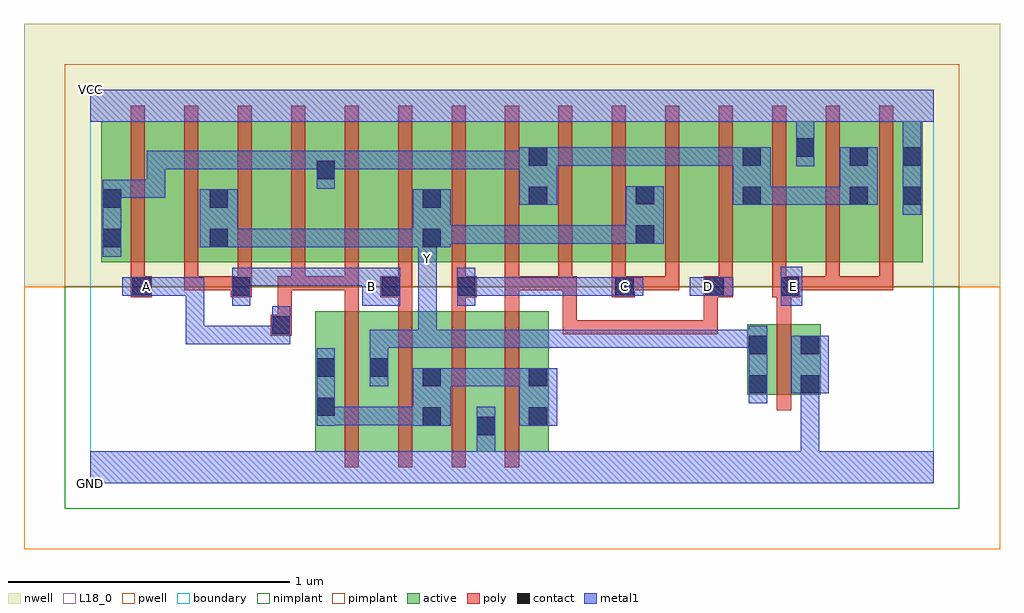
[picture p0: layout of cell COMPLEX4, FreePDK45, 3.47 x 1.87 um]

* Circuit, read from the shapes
.subckt COMPLEX4 A B C D E GND VCC Y
M1 Y A n1 VSUBS nfet w=0.5u l=0.05u
M2 n1 B Y VSUBS nfet w=0.5u l=0.05u
M3 GND C n1 VSUBS nfet w=0.5u l=0.05u
M4 n1 D GND VSUBS nfet w=0.5u l=0.05u
M5 GND E Y VSUBS nfet w=0.25u l=0.05u
M6 n2 A n3 n4 pfet w=0.5u l=0.05u
M7 Y B n2 n4 pfet w=0.5u l=0.05u
M8 n5 B Y n4 pfet w=0.5u l=0.05u
M9 n3 A n5 n4 pfet w=0.5u l=0.05u
M10 n6 A n3 n4 pfet w=0.5u l=0.05u
M11 Y B n6 n4 pfet w=0.5u l=0.05u
M12 n7 C Y n4 pfet w=0.5u l=0.05u
M13 n3 D n7 n4 pfet w=0.5u l=0.05u
M14 n8 D n3 n4 pfet w=0.5u l=0.05u
M15 Y C n8 n4 pfet w=0.5u l=0.05u
M16 n9 C Y n4 pfet w=0.5u l=0.05u
M17 n3 D n9 n4 pfet w=0.5u l=0.05u
M18 VCC E n3 n4 pfet w=0.5u l=0.05u m=3
.ends

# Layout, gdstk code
import gdstk
lib = gdstk.Library(unit=1e-6, precision=1e-09)
def R(c, l, rs):  # rectangles x0, y0, x1, y1
    for r in rs: c.add(gdstk.rectangle(r[:2], r[2:], *l))
def A(c, l, x, y, w, h, nx, ny, dx, dy):  # array of equal rectangles
    R(c, l, [(x+i*dx, y+j*dy, x+i*dx+w, y+j*dy+h) for i in range(nx) for j in range(ny)])
active = (1, 0)
pwell = (2, 0)
nwell = (3, 0)
nimplant = (4, 0)
pimplant = (5, 0)
poly = (9, 0)
contact = (10, 0)
metal1 = (11, 0)
L18_0 = (18, 0)
boundary = (235, 0)

complex4 = lib.new_cell('COMPLEX4')
A(complex4, active, 0.04, 0.787, 0.225, 0.5, 3, 1, 0.38, 0)
A(complex4, active, 1.405, 0.787, 0.225, 0.5, 3, 1, 0.38, 0)
A(complex4, active, 2.315, 0.787, 0.265, 0.5, 3, 1, 0.19, 0)
R(complex4, active, [(0.8,0.112,1.065,0.612), (0.99,0.112,1.252,0.612), (1.177,0.112,1.445,0.612), (1.37,0.112,1.63,0.612), (1.37,0.132,1.445,0.55), (0.8,0.145,0.875,0.612), (0.99,0.145,1.065,0.592), (1.177,0.145,1.252,0.592), (1.555,0.145,1.63,0.612), (2.337,0.315,2.412,0.565), (2.337,0.315,2.597,0.565), (2.522,0.315,2.597,0.565), (0.04,0.787,0.145,1.2), (0.265,0.787,0.495,1.287), (0.42,0.787,0.495,1.07), (0.645,0.787,0.875,1.287), (0.8,0.787,0.875,1.2), (1.025,0.787,1.252,1.287), (1.177,0.787,1.252,1.07), (1.177,0.787,1.405,1.287), (1.555,0.787,1.63,1.2), (1.555,0.787,1.785,1.287), (1.935,0.787,2.165,1.287), (1.935,0.787,2.01,1.07), (2.315,0.787,2.39,1.2), (2.505,0.787,2.58,1.287), (2.695,0.787,2.77,1.2), (2.885,0.787,2.96,1.287)])
R(complex4, pwell, [(-0.235,-0.235,3.235,0.7)])
R(complex4, nwell, [(-0.235,0.7,3.235,1.635)])
R(complex4, nimplant, [(-0.09,-0.09,3.09,0.7)])
R(complex4, pimplant, [(-0.09,0.7,3.09,1.49)])
A(complex4, poly, 0.905, 0.057, 0.05, 0.61, 4, 1, 0.19, 0)
A(complex4, poly, 0.145, 0.687, 0.05, 0.095, 15, 1, 0.19, 0)
A(complex4, poly, 0.145, 0.732, 0.05, 0.61, 15, 1, 0.19, 0)
R(complex4, poly, [(2.442,0.26,2.492,0.62), (0.642,0.525,0.717,0.6), (1.68,0.53,1.73,0.58), (1.68,0.53,1.862,0.58), (1.68,0.53,1.73,0.737), (1.812,0.53,1.862,0.58), (1.812,0.53,1.862,0.58), (1.812,0.53,1.862,0.58), (1.812,0.53,2.1,0.58), (2.05,0.53,2.1,0.58), (2.05,0.53,2.1,0.58), (2.05,0.53,2.1,0.58), (2.05,0.53,2.232,0.58), (2.182,0.53,2.232,0.58), (2.182,0.53,2.232,0.58), (2.182,0.53,2.232,0.58), (2.182,0.53,2.232,0.58), (2.182,0.53,2.232,0.58), (2.182,0.53,2.232,0.712), (0.667,0.55,0.717,0.737), (2.442,0.57,2.492,0.712), (0.905,0.617,0.955,0.737), (1.095,0.617,1.145,0.712), (1.285,0.617,1.335,0.712), (1.475,0.617,1.525,0.737), (0.145,0.662,0.22,0.737), (0.5,0.662,0.575,0.737), (1.032,0.662,1.145,0.737), (1.285,0.662,1.375,0.737), (1.855,0.662,1.937,0.737), (2.182,0.662,2.285,0.737), (2.425,0.662,2.525,0.737), (0.335,0.687,0.385,0.737), (0.335,0.687,0.55,0.737), (0.5,0.687,0.55,0.737), (0.5,0.687,0.55,0.737), (0.667,0.687,0.75,0.737), (0.7,0.687,0.75,0.737), (0.7,0.687,0.765,0.737), (0.715,0.687,0.765,0.737), (0.715,0.687,0.765,0.737), (0.715,0.687,0.955,0.737), (0.905,0.687,0.955,0.737), (1.475,0.687,1.525,0.737), (1.475,0.687,1.525,0.737), (1.475,0.687,1.525,0.737), (1.475,0.687,1.715,0.737), (1.665,0.687,1.715,0.737), (1.665,0.687,1.715,0.737), (1.665,0.687,1.73,0.737), (1.887,0.687,2.095,0.737), (2.045,0.687,2.095,0.737), (2.045,0.687,2.095,0.737), (2.045,0.687,2.095,0.737), (2.475,0.687,2.665,0.737), (2.615,0.687,2.665,0.737), (2.615,0.687,2.665,0.737), (2.615,0.687,2.665,0.737), (2.615,0.687,2.855,0.737), (2.805,0.687,2.855,0.737), (2.805,0.687,2.855,0.737), (2.805,0.687,2.855,0.737)])
R(complex4, contact, [(1.375,0.172,1.44,0.237), (1.182,0.205,1.247,0.27), (1.56,0.205,1.625,0.27), (0.805,0.24,0.87,0.305), (2.342,0.32,2.407,0.385), (2.527,0.32,2.592,0.385), (1.182,0.345,1.247,0.41), (1.56,0.345,1.625,0.41), (0.805,0.38,0.87,0.445), (0.995,0.38,1.06,0.445), (2.342,0.46,2.407,0.525), (2.527,0.46,2.592,0.525), (0.647,0.53,0.712,0.595), (0.15,0.667,0.215,0.732), (0.505,0.667,0.57,0.732), (1.037,0.667,1.102,0.732), (1.305,0.667,1.37,0.732), (1.867,0.667,1.932,0.732), (2.187,0.667,2.252,0.732), (2.455,0.667,2.52,0.732), (0.045,0.84,0.11,0.905), (0.425,0.84,0.49,0.905), (1.182,0.84,1.247,0.905), (1.94,0.852,2.005,0.917), (0.045,0.98,0.11,1.045), (0.425,0.98,0.49,1.045), (1.182,0.98,1.247,1.045), (1.56,0.99,1.625,1.055), (2.32,0.99,2.385,1.055), (2.7,0.99,2.765,1.055), (2.89,0.99,2.955,1.055), (1.94,0.992,2.005,1.057), (0.805,1.082,0.87,1.147), (1.56,1.13,1.625,1.195), (2.32,1.13,2.385,1.195), (2.7,1.13,2.765,1.195), (2.89,1.13,2.955,1.195), (2.51,1.162,2.575,1.227)])
A(complex4, metal1, 1.355, 0.482, 0.065, 0.065, 1, 3, 0, 0.185)
A(complex4, metal1, 1.355, 0.482, 0.202, 0.065, 1, 3, 0, 0.185)
A(complex4, metal1, 1.492, 0.482, 0.065, 0.065, 1, 3, 0, 0.185)
A(complex4, metal1, 1.63, 0.482, 0.202, 0.065, 1, 3, 0, 0.185)
A(complex4, metal1, 1.767, 0.482, 0.065, 0.065, 1, 3, 0, 0.185)
A(complex4, metal1, 1.217, 0.852, 0.203, 0.065, 3, 1, 0.275, 0)
R(complex4, metal1, [(0,0,3,0.115), (1.375,0.05,1.44,0.115), (1.375,0.05,1.44,0.115), (1.375,0.05,1.44,0.202), (2.527,0.05,2.592,0.115), (2.527,0.05,2.592,0.115), (2.527,0.05,2.592,0.115), (2.527,0.05,2.592,0.115), (2.527,0.05,2.592,0.115), (2.527,0.05,2.592,0.115), (2.527,0.05,2.592,0.385), (1.375,0.137,1.44,0.272), (0.805,0.205,0.87,0.48), (1.147,0.205,1.282,0.41), (1.525,0.205,1.66,0.41), (0.805,0.207,0.87,0.272), (0.805,0.207,0.87,0.272), (0.805,0.207,1.075,0.272), (1.01,0.207,1.075,0.272), (1.01,0.207,1.075,0.272), (1.01,0.207,1.075,0.272), (1.01,0.207,1.212,0.272), (2.342,0.285,2.407,0.56), (2.492,0.32,2.627,0.525), (0.995,0.345,1.06,0.48), (1.217,0.345,1.42,0.41), (1.355,0.345,1.42,0.41), (1.355,0.345,1.42,0.41), (1.355,0.345,1.42,0.41), (1.355,0.345,1.557,0.41), (1.492,0.345,1.557,0.41), (1.492,0.345,1.59,0.41), (0.995,0.415,1.06,0.48), (0.995,0.415,1.06,0.547), (0.995,0.482,1.232,0.547), (1.167,0.482,1.232,0.547), (1.167,0.482,1.42,0.547), (1.167,0.482,1.232,0.797), (1.355,0.482,1.42,0.547), (1.355,0.482,1.42,0.547), (1.492,0.482,1.695,0.547), (1.63,0.482,1.695,0.547), (1.63,0.482,1.695,0.547), (1.63,0.482,1.695,0.547), (1.767,0.482,1.832,0.547), (1.767,0.482,1.832,0.547), (1.767,0.482,1.97,0.547), (1.905,0.482,1.97,0.547), (1.905,0.482,2.04,0.547), (1.975,0.482,2.04,0.547), (1.975,0.482,2.107,0.547), (2.042,0.482,2.107,0.547), (2.042,0.482,2.177,0.547), (2.112,0.482,2.177,0.547), (2.112,0.482,2.407,0.547), (0.34,0.495,0.405,0.56), (0.34,0.495,0.575,0.56), (0.34,0.495,0.405,0.732), (0.51,0.495,0.575,0.56), (0.51,0.495,0.712,0.56), (0.647,0.495,0.712,0.56), (0.647,0.495,0.712,0.56), (0.647,0.495,0.712,0.56), (0.647,0.495,0.712,0.56), (0.647,0.495,0.712,0.63), (0.505,0.632,0.57,0.767), (0.967,0.632,1.102,0.767), (1.305,0.632,1.37,0.767), (2.455,0.632,2.532,0.77), (0.115,0.667,0.267,0.732), (0.202,0.667,0.267,0.732), (0.202,0.667,0.267,0.732), (0.202,0.667,0.405,0.732), (0.34,0.667,0.405,0.732), (0.34,0.667,0.405,0.732), (0.34,0.667,0.405,0.732), (1.305,0.667,1.42,0.732), (1.492,0.667,1.695,0.732), (1.63,0.667,1.695,0.732), (1.63,0.667,1.695,0.732), (1.63,0.667,1.695,0.732), (1.767,0.667,1.897,0.732), (1.832,0.667,1.967,0.732), (2.132,0.667,2.287,0.732), (0.505,0.702,0.732,0.767), (0.667,0.702,0.732,0.767), (0.667,0.702,0.732,0.767), (0.667,0.702,0.732,0.767), (0.667,0.702,0.895,0.767), (0.83,0.702,0.895,0.767), (0.83,0.702,0.895,0.767), (0.83,0.702,0.895,0.767), (0.83,0.702,1.032,0.767), (0.967,0.702,1.032,0.767), (0.967,0.702,1.032,0.767), (1.167,0.732,1.232,0.905), (0.045,0.805,0.11,1.08), (0.39,0.84,0.525,1.045), (0.46,0.84,0.57,0.905), (0.505,0.84,0.57,0.905), (0.505,0.84,0.732,0.905), (0.667,0.84,0.732,0.905), (0.667,0.84,0.732,0.905), (0.667,0.84,0.732,0.905), (0.667,0.84,0.87,0.905), (0.805,0.84,0.87,0.905), (0.805,0.84,0.87,0.905), (0.805,0.84,0.87,0.905), (0.805,0.84,1.075,0.905), (1.01,0.84,1.075,0.905), (1.01,0.84,1.212,0.905), (1.147,0.84,1.212,0.905), (1.147,0.84,1.212,0.905), (1.147,0.84,1.282,1.045), (1.167,0.84,1.232,0.905), (1.355,0.852,1.42,0.917), (1.355,0.852,1.42,0.917), (1.63,0.852,1.695,0.917), (1.63,0.852,1.695,0.917), (1.63,0.852,1.695,0.917), (1.767,0.852,1.832,0.917), (1.767,0.852,1.832,0.917), (1.905,0.852,2.04,1.057), (2.89,0.955,2.955,1.23), (1.525,0.99,1.66,1.195), (2.285,0.99,2.42,1.195), (2.355,0.99,2.557,1.055), (2.492,0.99,2.557,1.055), (2.492,0.99,2.557,1.055), (2.492,0.99,2.557,1.055), (2.492,0.99,2.73,1.055), (2.665,0.99,2.73,1.055), (2.665,0.99,2.73,1.055), (2.665,0.99,2.8,1.195), (0.045,1.015,0.267,1.08), (0.202,1.015,0.267,1.08), (0.202,1.015,0.267,1.08), (0.202,1.015,0.267,1.08), (0.202,1.015,0.267,1.182), (0.805,1.047,0.87,1.182), (0.202,1.117,0.267,1.182), (0.202,1.117,0.432,1.182), (0.367,1.117,0.432,1.182), (0.367,1.117,0.432,1.182), (0.367,1.117,0.432,1.182), (0.367,1.117,0.575,1.182), (0.51,1.117,0.575,1.182), (0.51,1.117,0.732,1.182), (0.667,1.117,0.732,1.182), (0.667,1.117,0.732,1.182), (0.667,1.117,0.732,1.182), (0.667,1.117,0.87,1.182), (0.805,1.117,0.87,1.182), (0.805,1.117,0.87,1.182), (0.805,1.117,1.032,1.182), (0.967,1.117,1.032,1.182), (0.967,1.117,1.232,1.182), (1.167,1.117,1.232,1.182), (1.167,1.117,1.232,1.182), (1.167,1.117,1.232,1.182), (1.167,1.117,1.42,1.182), (1.355,1.117,1.42,1.182), (1.355,1.117,1.42,1.182), (1.355,1.117,1.42,1.182), (1.355,1.117,1.557,1.182), (1.492,1.117,1.557,1.182), (1.492,1.117,1.59,1.182), (2.51,1.127,2.575,1.262), (1.595,1.13,1.695,1.195), (1.63,1.13,1.695,1.195), (1.63,1.13,1.832,1.195), (1.767,1.13,1.832,1.195), (1.767,1.13,1.832,1.195), (1.767,1.13,1.832,1.195), (1.767,1.13,1.97,1.195), (1.905,1.13,1.97,1.195), (1.905,1.13,1.97,1.195), (1.905,1.13,1.97,1.195), (1.905,1.13,2.177,1.195), (2.112,1.13,2.177,1.195), (2.112,1.13,2.177,1.195), (2.112,1.13,2.177,1.195), (2.112,1.13,2.177,1.195), (2.112,1.13,2.177,1.195), (2.112,1.13,2.35,1.195), (2.89,1.165,2.955,1.35), (2.51,1.197,2.575,1.35), (0,1.285,3,1.4)])
A(complex4, L18_0, 1.355, 0.482, 0.065, 0.065, 1, 3, 0, 0.185)
A(complex4, L18_0, 1.355, 0.482, 0.202, 0.065, 1, 3, 0, 0.185)
A(complex4, L18_0, 1.492, 0.482, 0.065, 0.065, 1, 3, 0, 0.185)
A(complex4, L18_0, 1.63, 0.482, 0.202, 0.065, 1, 3, 0, 0.185)
A(complex4, L18_0, 1.767, 0.482, 0.065, 0.065, 1, 3, 0, 0.185)
A(complex4, L18_0, 1.867, 0.667, 0.065, 0.065, 3, 1, 0.3, 0)
A(complex4, L18_0, 1.217, 0.852, 0.203, 0.065, 3, 1, 0.275, 0)
R(complex4, L18_0, [(0,0,3,0.115), (1.375,0.05,1.44,0.115), (1.375,0.05,1.44,0.115), (1.375,0.05,1.44,0.202), (2.527,0.05,2.592,0.115), (2.527,0.05,2.592,0.115), (2.527,0.05,2.592,0.115), (2.527,0.05,2.592,0.115), (2.527,0.05,2.592,0.115), (2.527,0.05,2.592,0.115), (2.527,0.05,2.592,0.385), (1.375,0.137,1.44,0.272), (2.342,0.285,2.407,0.56), (2.492,0.32,2.627,0.525), (0.995,0.345,1.06,0.48), (0.995,0.415,1.06,0.48), (0.995,0.415,1.06,0.547), (0.995,0.482,1.232,0.547), (1.167,0.482,1.232,0.547), (1.167,0.482,1.232,0.797), (1.167,0.482,1.42,0.547), (1.355,0.482,1.42,0.547), (1.355,0.482,1.42,0.547), (1.492,0.482,1.695,0.547), (1.63,0.482,1.695,0.547), (1.63,0.482,1.695,0.547), (1.63,0.482,1.695,0.547), (1.767,0.482,1.832,0.547), (1.767,0.482,1.832,0.547), (1.767,0.482,1.97,0.547), (1.905,0.482,1.97,0.547), (1.905,0.482,2.04,0.547), (1.975,0.482,2.04,0.547), (1.975,0.482,2.107,0.547), (2.042,0.482,2.107,0.547), (2.042,0.482,2.177,0.547), (2.112,0.482,2.177,0.547), (2.112,0.482,2.407,0.547), (0.34,0.495,0.405,0.56), (0.34,0.495,0.405,0.732), (0.34,0.495,0.575,0.56), (0.51,0.495,0.575,0.56), (0.51,0.495,0.712,0.56), (0.647,0.495,0.712,0.56), (0.647,0.495,0.712,0.56), (0.647,0.495,0.712,0.56), (0.647,0.495,0.712,0.56), (0.647,0.495,0.712,0.63), (0.505,0.632,0.57,0.767), (0.967,0.632,1.102,0.767), (1.305,0.632,1.37,0.767), (2.455,0.632,2.532,0.77), (0.115,0.667,0.267,0.732), (0.167,0.667,0.232,0.732), (0.202,0.667,0.267,0.732), (0.202,0.667,0.267,0.732), (0.202,0.667,0.405,0.732), (0.34,0.667,0.405,0.732), (0.34,0.667,0.405,0.732), (0.34,0.667,0.405,0.732), (0.967,0.667,1.032,0.732), (1.305,0.667,1.42,0.732), (1.492,0.667,1.695,0.732), (1.63,0.667,1.695,0.732), (1.63,0.667,1.695,0.732), (1.63,0.667,1.695,0.732), (1.767,0.667,1.897,0.732), (1.832,0.667,1.967,0.732), (2.132,0.667,2.287,0.732), (0.505,0.702,0.732,0.767), (0.667,0.702,0.732,0.767), (0.667,0.702,0.732,0.767), (0.667,0.702,0.732,0.767), (0.667,0.702,0.895,0.767), (0.83,0.702,0.895,0.767), (0.83,0.702,0.895,0.767), (0.83,0.702,0.895,0.767), (0.83,0.702,1.032,0.767), (0.967,0.702,1.032,0.767), (0.967,0.702,1.032,0.767), (1.167,0.732,1.232,0.905), (1.167,0.767,1.232,0.832), (0.39,0.84,0.525,1.045), (0.46,0.84,0.57,0.905), (0.505,0.84,0.57,0.905), (0.505,0.84,0.732,0.905), (0.667,0.84,0.732,0.905), (0.667,0.84,0.732,0.905), (0.667,0.84,0.732,0.905), (0.667,0.84,0.87,0.905), (0.805,0.84,0.87,0.905), (0.805,0.84,0.87,0.905), (0.805,0.84,0.87,0.905), (0.805,0.84,1.075,0.905), (1.01,0.84,1.075,0.905), (1.01,0.84,1.212,0.905), (1.147,0.84,1.212,0.905), (1.147,0.84,1.212,0.905), (1.147,0.84,1.282,1.045), (1.167,0.84,1.232,0.905), (1.355,0.852,1.42,0.917), (1.355,0.852,1.42,0.917), (1.63,0.852,1.695,0.917), (1.63,0.852,1.695,0.917), (1.63,0.852,1.695,0.917), (1.767,0.852,1.832,0.917), (1.767,0.852,1.832,0.917), (1.905,0.852,2.04,1.057), (2.89,0.955,2.955,1.23), (2.51,1.127,2.575,1.262), (2.89,1.165,2.955,1.35), (2.51,1.197,2.575,1.35), (0,1.285,3,1.4)])
R(complex4, boundary, [(0,0,3,1.4)])
complex4.add(gdstk.Label('A', (0.2,0.7), layer=11, texttype=0))
complex4.add(gdstk.Label('B', (1,0.7), layer=11, texttype=0))
complex4.add(gdstk.Label('C', (1.9,0.7), layer=11, texttype=0))
complex4.add(gdstk.Label('D', (2.2,0.7), layer=11, texttype=0))
complex4.add(gdstk.Label('E', (2.5,0.7), layer=11, texttype=0))
complex4.add(gdstk.Label('Y', (1.2,0.8), layer=11, texttype=0))
complex4.add(gdstk.Label('VCC', (0,1.4), layer=11, texttype=0))
complex4.add(gdstk.Label('GND', (0,0), layer=11, texttype=0))

lib.write_gds('COMPLEX4.gds')
